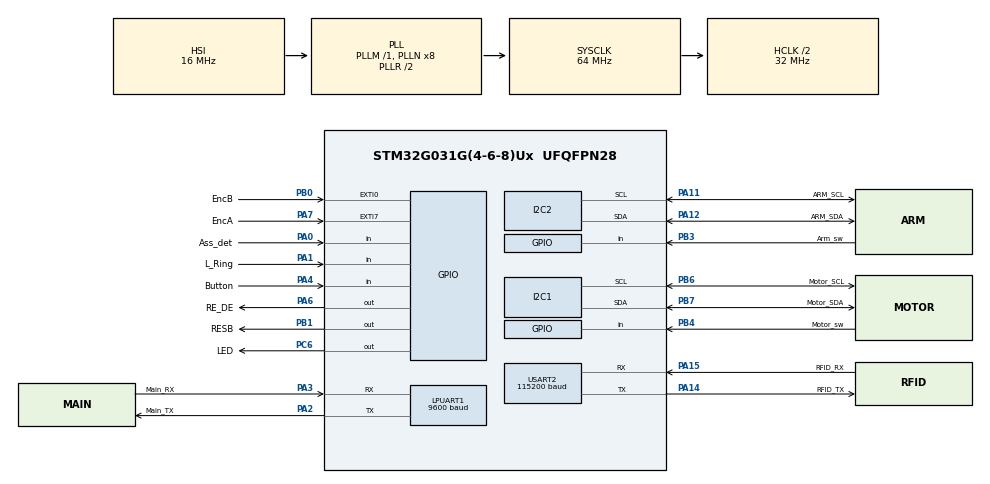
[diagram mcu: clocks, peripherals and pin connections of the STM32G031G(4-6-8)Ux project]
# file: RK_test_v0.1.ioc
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I2C1.Speed=100
I2C1.Timing=0x00707CBB
I2C2.Timing=0x00707CBB
LPUART1.BaudRate=9600
LPUART1.WordLength=UART_WORDLENGTH_8B
Mcu.Family=STM32G0
Mcu.Name=STM32G031G(4-6-8)Ux
Mcu.Package=UFQFPN28
NVIC.EXTI0_1_IRQn=true\:3\:0\:true\:false\:true\:true\:true\:true
NVIC.EXTI4_15_IRQn=true\:3\:0\:true\:false\:true\:true\:true\:true
NVIC.I2C1_IRQn=true\:3\:0\:true\:false\:true\:true\:true\:true
NVIC.I2C2_IRQn=true\:3\:0\:true\:false\:true\:true\:true\:true
NVIC.LPUART1_IRQn=true\:3\:0\:true\:false\:true\:true\:true\:true
NVIC.TIM14_IRQn=true\:2\:0\:true\:false\:true\:true\:true\:true
NVIC.USART2_IRQn=true\:0\:0\:false\:false\:true\:true\:true\:true
PA0.GPIO_Label=Ass_det
PA0.GPIO_PuPd=GPIO_PULLUP
PA0.Signal=GPIO_Input
PA1.GPIO_Label=L_Ring
PA1.GPIO_PuPd=GPIO_PULLUP
PA1.Signal=GPIO_Input
PA11\ [PA9].GPIO_Label=ARM_SCL
PA11\ [PA9].Mode=I2C
PA11\ [PA9].Signal=I2C2_SCL
PA12\ [PA10].GPIO_Label=ARM_SDA
PA12\ [PA10].Mode=I2C
PA12\ [PA10].Signal=I2C2_SDA
PA14-BOOT0.GPIO_Label=RFID_TX
PA14-BOOT0.Mode=Asynchronous
PA14-BOOT0.Signal=USART2_TX
PA15.GPIO_Label=RFID_RX
PA15.Mode=Asynchronous
PA15.Signal=USART2_RX
PA2.GPIO_Label=Main_TX
PA2.Mode=Asynchronous
PA2.Signal=LPUART1_TX
PA3.GPIO_Label=Main_RX
PA3.Mode=Asynchronous
PA3.Signal=LPUART1_RX
PA4.GPIO_Label=Button
PA4.GPIO_PuPd=GPIO_PULLUP
PA4.Signal=GPIO_Input
PA6.GPIO_Label=RE_DE
PA6.GPIO_PuPd=GPIO_PULLUP
PA6.Signal=GPIO_Output
PA7.GPIO_Label=EncA
PA7.GPIO_ModeDefaultEXTI=GPIO_MODE_IT_RISING_FALLING
PA7.GPIO_PuPd=GPIO_PULLUP
PA7.Signal=GPXTI7
PB0.GPIO_Label=EncB
PB0.GPIO_ModeDefaultEXTI=GPIO_MODE_IT_RISING_FALLING
PB0.GPIO_PuPd=GPIO_PULLUP
PB0.Signal=GPXTI0
PB1.GPIO_Label=RESB
PB1.GPIO_PuPd=GPIO_PULLDOWN
PB1.PinState=GPIO_PIN_RESET
PB1.Signal=GPIO_Output
PB3.GPIO_Label=Arm_sw
PB3.GPIO_PuPd=GPIO_PULLUP
PB3.Signal=GPIO_Input
PB4.GPIO_Label=Motor_sw
PB4.GPIO_PuPd=GPIO_PULLUP
PB4.Signal=GPIO_Input
PB6.GPIO_Label=Motor_SCL
PB6.Mode=I2C
PB6.Signal=I2C1_SCL
PB7.GPIO_Label=Motor_SDA
PB7.Mode=I2C
PB7.Signal=I2C1_SDA
PC6.GPIO_Label=LED
PC6.Signal=GPIO_Output
ProjectManager.HeapSize=0x200
ProjectManager.StackSize=0x400
ProjectManager.TargetToolchain=STM32CubeIDE
RCC.ADCFreq_Value=64000000
RCC.AHBCLKDivider=RCC_SYSCLK_DIV2
RCC.AHBFreq_Value=32000000
RCC.CortexFreq_Value=32000000
RCC.EXTERNAL_CLOCK_VALUE=12288000
RCC.HCLKFreq_Value=32000000
RCC.HSE_VALUE=8000000
RCC.HSI_VALUE=16000000
RCC.LSE_VALUE=32768
RCC.SYSCLKFreq_VALUE=64000000
RCC.SYSCLKSource=RCC_SYSCLKSOURCE_PLLCLK
RCC.VCOOutputFreq_Value=128000000
TIM14.AutoReloadPreload=TIM_AUTORELOAD_PRELOAD_ENABLE
TIM14.Period=450
TIM14.Prescaler=31
USART2.BaudRate=115200
USART2.VirtualMode-Asynchronous=VM_ASYNC
VP_TIM14_VS_ClockSourceINT.Mode=Enable_Timer
board=custom

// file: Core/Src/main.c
/* USER CODE BEGIN Header */
/**
 ******************************************************************************
 * @file           : main.c
 * @brief          : Rotary_knob Firmware
 ******************************************************************************
 */
/* USER CODE END Header */
#include "main.h"

/* USER CODE BEGIN Includes */
#include "switches.h"
#include "enc.h"
#include "rk_uart.h"
#include "rk_parsing.h"
#include "rk_mm.h"
/* USER CODE END Includes */

I2C_HandleTypeDef hi2c1;
I2C_HandleTypeDef hi2c2;

UART_HandleTypeDef hlpuart1;
UART_HandleTypeDef huart2;

TIM_HandleTypeDef htim14;

/* USER CODE BEGIN PV */

message_TypeDef *message_main;
message_TypeDef *message_rfid;
mm_TypeDef *mm_motor;
mm_TypeDef *mm_arm;

/* USER CODE END PV */

void SystemClock_Config(void);
static void MX_GPIO_Init(void);
static void MX_I2C1_Init(void);
static void MX_LPUART1_UART_Init(void);
static void MX_TIM14_Init(void);
static void MX_I2C2_Init(void);
static void MX_USART2_UART_Init(void);
/* USER CODE BEGIN PFP */
void MM_Polling(void);
/* USER CODE END PFP */

int main(void)
{

  /* MCU Configuration--------------------------------------------------------*/

  /* Reset of all peripherals, Initializes the Flash interface and the Systick. */
  HAL_Init();

  /* Configure the system clock */
  SystemClock_Config();

  /* USER CODE BEGIN SysInit */
  HAL_Delay(5000);		// задержка перед конфигурацией периферии
  /* USER CODE END SysInit */

  /* Initialize all configured peripherals */
  MX_GPIO_Init();
  MX_I2C1_Init();
  MX_LPUART1_UART_Init();
  MX_TIM14_Init();
  MX_I2C2_Init();
  MX_USART2_UART_Init();
  /* USER CODE BEGIN 2 */
	Init_Switches();                          // инициализация концевиков
	message_main = Init_UART(&hlpuart1);      // инициализация uart rk <-> main pcb
	message_rfid = Init_UART(&huart2);
	Enable_Direction_Switch(message_main, RE_DE_GPIO_Port, RE_DE_Pin); // включение переключение прием-передача для RS485
	Receive_Message(message_main);            // старт приема сообщений
	Receive_Message(message_rfid);
  MM_Res();                                 // ресет магнитометров
  mm_motor = MM_Init(&hi2c1);               // инициализация магнитометра motor
  mm_arm = MM_Init(&hi2c2);                 // инициализация магнитометра arm
  MM_Enable(mm_motor);											// старт обработки магнитометра
  MM_Enable(mm_arm);                        // старт обработки магнитометра
  HAL_Delay(5);
  /* USER CODE END 2 */

  /* Infinite loop */
	while(1)
	{

    /* USER CODE BEGIN 3 */

		if(Is_Message_Ready(message_main) == DATA_READY)
		{
			Parse_Main_Message(message_main);                 // обработка сообщения от main pcb
			Receive_Message(message_main);                    // рестарт приема сообщений
		}
		if(Is_Message_Ready(message_rfid) == DATA_READY)
		{
			Parse_RFID_Message(message_rfid);                 // обработка сообщения от rfid
			Receive_Message(message_rfid);                    // рестарт приема сообщений
		}
		Send_Request_RF_Tag(message_rfid);    // Периодический запрос id метки
	}
  /* USER CODE END 3 */
}

void SystemClock_Config(void)
{
  RCC_OscInitTypeDef RCC_OscInitStruct = {0};
  RCC_ClkInitTypeDef RCC_ClkInitStruct = {0};

  /** Configure the main internal regulator output voltage
  */
  HAL_PWREx_ControlVoltageScaling(PWR_REGULATOR_VOLTAGE_SCALE1);

  /** Initializes the RCC Oscillators according to the specified parameters
  * in the RCC_OscInitTypeDef structure.
  */
  RCC_OscInitStruct.OscillatorType = RCC_OSCILLATORTYPE_HSI;
  RCC_OscInitStruct.HSIState = RCC_HSI_ON;
  RCC_OscInitStruct.HSIDiv = RCC_HSI_DIV1;
  RCC_OscInitStruct.HSICalibrationValue = RCC_HSICALIBRATION_DEFAULT;
  RCC_OscInitStruct.PLL.PLLState = RCC_PLL_ON;
  RCC_OscInitStruct.PLL.PLLSource = RCC_PLLSOURCE_HSI;
  RCC_OscInitStruct.PLL.PLLM = RCC_PLLM_DIV1;
  RCC_OscInitStruct.PLL.PLLN = 8;
  RCC_OscInitStruct.PLL.PLLP = RCC_PLLP_DIV2;
  RCC_OscInitStruct.PLL.PLLQ = RCC_PLLQ_DIV2;
  RCC_OscInitStruct.PLL.PLLR = RCC_PLLR_DIV2;
  if (HAL_RCC_OscConfig(&RCC_OscInitStruct) != HAL_OK)
  {
    Error_Handler();
  }

  /** Initializes the CPU, AHB and APB buses clocks
  */
  RCC_ClkInitStruct.ClockType = RCC_CLOCKTYPE_HCLK|RCC_CLOCKTYPE_SYSCLK
                              |RCC_CLOCKTYPE_PCLK1;
  RCC_ClkInitStruct.SYSCLKSource = RCC_SYSCLKSOURCE_PLLCLK;
  RCC_ClkInitStruct.AHBCLKDivider = RCC_SYSCLK_DIV2;
  RCC_ClkInitStruct.APB1CLKDivider = RCC_HCLK_DIV1;

  if (HAL_RCC_ClockConfig(&RCC_ClkInitStruct, FLASH_LATENCY_1) != HAL_OK)
  {
    Error_Handler();
  }
}

static void MX_I2C1_Init(void)
{

  hi2c1.Instance = I2C1;
  hi2c1.Init.Timing = 0x00707CBB;
  hi2c1.Init.OwnAddress1 = 0;
  hi2c1.Init.AddressingMode = I2C_ADDRESSINGMODE_7BIT;
  hi2c1.Init.DualAddressMode = I2C_DUALADDRESS_DISABLE;
  hi2c1.Init.OwnAddress2 = 0;
  hi2c1.Init.OwnAddress2Masks = I2C_OA2_NOMASK;
  hi2c1.Init.GeneralCallMode = I2C_GENERALCALL_DISABLE;
  hi2c1.Init.NoStretchMode = I2C_NOSTRETCH_DISABLE;
  if (HAL_I2C_Init(&hi2c1) != HAL_OK)
  {
    Error_Handler();
  }

  /** Configure Analogue filter
  */
  if (HAL_I2CEx_ConfigAnalogFilter(&hi2c1, I2C_ANALOGFILTER_ENABLE) != HAL_OK)
  {
    Error_Handler();
  }

  /** Configure Digital filter
  */
  if (HAL_I2CEx_ConfigDigitalFilter(&hi2c1, 0) != HAL_OK)
  {
    Error_Handler();
  }

}

static void MX_I2C2_Init(void)
{

  hi2c2.Instance = I2C2;
  hi2c2.Init.Timing = 0x00707CBB;
  hi2c2.Init.OwnAddress1 = 0;
  hi2c2.Init.AddressingMode = I2C_ADDRESSINGMODE_7BIT;
  hi2c2.Init.DualAddressMode = I2C_DUALADDRESS_DISABLE;
  hi2c2.Init.OwnAddress2 = 0;
  hi2c2.Init.OwnAddress2Masks = I2C_OA2_NOMASK;
  hi2c2.Init.GeneralCallMode = I2C_GENERALCALL_DISABLE;
  hi2c2.Init.NoStretchMode = I2C_NOSTRETCH_DISABLE;
  if (HAL_I2C_Init(&hi2c2) != HAL_OK)
  {
    Error_Handler();
  }

  /** Configure Analogue filter
  */
  if (HAL_I2CEx_ConfigAnalogFilter(&hi2c2, I2C_ANALOGFILTER_ENABLE) != HAL_OK)
  {
    Error_Handler();
  }

  /** Configure Digital filter
  */
  if (HAL_I2CEx_ConfigDigitalFilter(&hi2c2, 0) != HAL_OK)
  {
    Error_Handler();
  }

}

static void MX_LPUART1_UART_Init(void)
{

  hlpuart1.Instance = LPUART1;
  hlpuart1.Init.BaudRate = 9600;
  hlpuart1.Init.WordLength = UART_WORDLENGTH_8B;
  hlpuart1.Init.StopBits = UART_STOPBITS_1;
  hlpuart1.Init.Parity = UART_PARITY_NONE;
  hlpuart1.Init.Mode = UART_MODE_TX_RX;
  hlpuart1.Init.HwFlowCtl = UART_HWCONTROL_NONE;
  hlpuart1.Init.OneBitSampling = UART_ONE_BIT_SAMPLE_DISABLE;
  hlpuart1.Init.ClockPrescaler = UART_PRESCALER_DIV1;
  hlpuart1.AdvancedInit.AdvFeatureInit = UART_ADVFEATURE_NO_INIT;
  hlpuart1.FifoMode = UART_FIFOMODE_DISABLE;
  if (HAL_UART_Init(&hlpuart1) != HAL_OK)
  {
    Error_Handler();
  }
  if (HAL_UARTEx_SetTxFifoThreshold(&hlpuart1, UART_TXFIFO_THRESHOLD_1_8) != HAL_OK)
  {
    Error_Handler();
  }
  if (HAL_UARTEx_SetRxFifoThreshold(&hlpuart1, UART_RXFIFO_THRESHOLD_1_8) != HAL_OK)
  {
    Error_Handler();
  }
  if (HAL_UARTEx_DisableFifoMode(&hlpuart1) != HAL_OK)
  {
    Error_Handler();
  }

}

static void MX_USART2_UART_Init(void)
{

  huart2.Instance = USART2;
  huart2.Init.BaudRate = 115200;
  huart2.Init.WordLength = UART_WORDLENGTH_8B;
  huart2.Init.StopBits = UART_STOPBITS_1;
  huart2.Init.Parity = UART_PARITY_NONE;
  huart2.Init.Mode = UART_MODE_TX_RX;
  huart2.Init.HwFlowCtl = UART_HWCONTROL_NONE;
  huart2.Init.OverSampling = UART_OVERSAMPLING_16;
  huart2.Init.OneBitSampling = UART_ONE_BIT_SAMPLE_DISABLE;
  huart2.Init.ClockPrescaler = UART_PRESCALER_DIV1;
  huart2.AdvancedInit.AdvFeatureInit = UART_ADVFEATURE_NO_INIT;
  if (HAL_UART_Init(&huart2) != HAL_OK)
  {
    Error_Handler();
  }

}

static void MX_TIM14_Init(void)
{

  htim14.Instance = TIM14;
  htim14.Init.Prescaler = 31;
  htim14.Init.CounterMode = TIM_COUNTERMODE_UP;
  htim14.Init.Period = 450;
  htim14.Init.ClockDivision = TIM_CLOCKDIVISION_DIV1;
  htim14.Init.AutoReloadPreload = TIM_AUTORELOAD_PRELOAD_ENABLE;
  if (HAL_TIM_Base_Init(&htim14) != HAL_OK)
  {
    Error_Handler();
  }

}

static void MX_GPIO_Init(void)
{
  GPIO_InitTypeDef GPIO_InitStruct = {0};

  /* GPIO Ports Clock Enable */
  __HAL_RCC_GPIOA_CLK_ENABLE();
  __HAL_RCC_GPIOB_CLK_ENABLE();
  __HAL_RCC_GPIOC_CLK_ENABLE();

  /*Configure GPIO pin Output Level */
  HAL_GPIO_WritePin(RE_DE_GPIO_Port, RE_DE_Pin, GPIO_PIN_RESET);

  /*Configure GPIO pin Output Level */
  HAL_GPIO_WritePin(RESB_GPIO_Port, RESB_Pin, GPIO_PIN_RESET);

  /*Configure GPIO pin Output Level */
  HAL_GPIO_WritePin(LED_GPIO_Port, LED_Pin, GPIO_PIN_RESET);

  /*Configure GPIO pins : Ass_det_Pin L_Ring_Pin Button_Pin */
  GPIO_InitStruct.Pin = Ass_det_Pin|L_Ring_Pin|Button_Pin;
  GPIO_InitStruct.Mode = GPIO_MODE_INPUT;
  GPIO_InitStruct.Pull = GPIO_PULLUP;
  HAL_GPIO_Init(GPIOA, &GPIO_InitStruct);

  /*Configure GPIO pin : RE_DE_Pin */
  GPIO_InitStruct.Pin = RE_DE_Pin;
  GPIO_InitStruct.Mode = GPIO_MODE_OUTPUT_PP;
  GPIO_InitStruct.Pull = GPIO_PULLUP;
  GPIO_InitStruct.Speed = GPIO_SPEED_FREQ_LOW;
  HAL_GPIO_Init(RE_DE_GPIO_Port, &GPIO_InitStruct);

  /*Configure GPIO pin : EncA_Pin */
  GPIO_InitStruct.Pin = EncA_Pin;
  GPIO_InitStruct.Mode = GPIO_MODE_IT_RISING_FALLING;
  GPIO_InitStruct.Pull = GPIO_PULLUP;
  HAL_GPIO_Init(EncA_GPIO_Port, &GPIO_InitStruct);

  /*Configure GPIO pin : EncB_Pin */
  GPIO_InitStruct.Pin = EncB_Pin;
  GPIO_InitStruct.Mode = GPIO_MODE_IT_RISING_FALLING;
  GPIO_InitStruct.Pull = GPIO_PULLUP;
  HAL_GPIO_Init(EncB_GPIO_Port, &GPIO_InitStruct);

  /*Configure GPIO pin : RESB_Pin */
  GPIO_InitStruct.Pin = RESB_Pin;
  GPIO_InitStruct.Mode = GPIO_MODE_OUTPUT_PP;
  GPIO_InitStruct.Pull = GPIO_PULLDOWN;
  GPIO_InitStruct.Speed = GPIO_SPEED_FREQ_LOW;
  HAL_GPIO_Init(RESB_GPIO_Port, &GPIO_InitStruct);

  /*Configure GPIO pin : LED_Pin */
  GPIO_InitStruct.Pin = LED_Pin;
  GPIO_InitStruct.Mode = GPIO_MODE_OUTPUT_PP;
  GPIO_InitStruct.Pull = GPIO_NOPULL;
  GPIO_InitStruct.Speed = GPIO_SPEED_FREQ_LOW;
  HAL_GPIO_Init(LED_GPIO_Port, &GPIO_InitStruct);

  /*Configure GPIO pins : Arm_sw_Pin Motor_sw_Pin */
  GPIO_InitStruct.Pin = Arm_sw_Pin|Motor_sw_Pin;
  GPIO_InitStruct.Mode = GPIO_MODE_INPUT;
  GPIO_InitStruct.Pull = GPIO_PULLUP;
  HAL_GPIO_Init(GPIOB, &GPIO_InitStruct);

  /* EXTI interrupt init*/
  HAL_NVIC_SetPriority(EXTI0_1_IRQn, 3, 0);
  HAL_NVIC_EnableIRQ(EXTI0_1_IRQn);

  HAL_NVIC_SetPriority(EXTI4_15_IRQn, 3, 0);
  HAL_NVIC_EnableIRQ(EXTI4_15_IRQn);

}

/* USER CODE BEGIN 4 */
void Rising_Falling_Callback(uint16_t pin)    // обрабатываем прерывание по любому фронту
{
	if((pin == EncA_Pin) || (pin == EncB_Pin))
	{
		Enc_Debounce(&htim14, pin);
	}
}

void HAL_GPIO_EXTI_Rising_Callback(uint16_t pin)
{
	Rising_Falling_Callback(pin);
}

void HAL_GPIO_EXTI_Falling_Callback(uint16_t pin)
{
	Rising_Falling_Callback(pin);
}

/* USER CODE END 4 */

void Error_Handler(void)
{
	__disable_irq();
	while(1)
	{
	}
}
